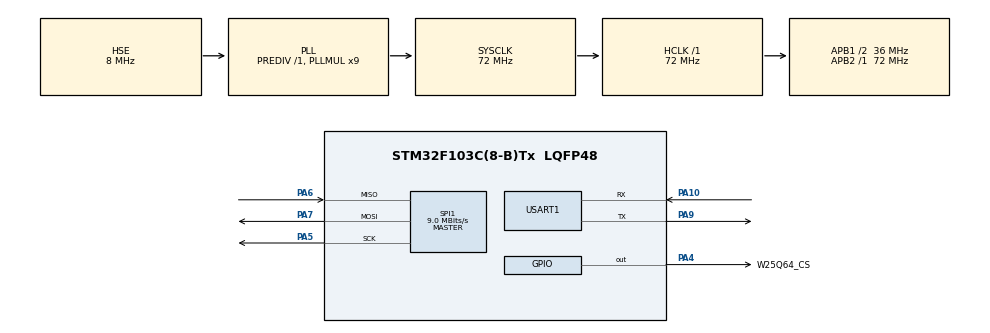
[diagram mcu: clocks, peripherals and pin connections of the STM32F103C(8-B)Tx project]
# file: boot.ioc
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Mcu.Family=STM32F1
Mcu.Name=STM32F103C(8-B)Tx
Mcu.Package=LQFP48
NVIC.PriorityGroup=NVIC_PRIORITYGROUP_4
PA10.Mode=Asynchronous
PA10.Signal=USART1_RX
PA13.Mode=Serial_Wire
PA13.Signal=SYS_JTMS-SWDIO
PA14.Mode=Serial_Wire
PA14.Signal=SYS_JTCK-SWCLK
PA4.GPIO_Label=W25Q64_CS
PA4.PinState=GPIO_PIN_SET
PA4.Signal=GPIO_Output
PA5.Mode=Full_Duplex_Master
PA5.Signal=SPI1_SCK
PA6.Mode=Full_Duplex_Master
PA6.Signal=SPI1_MISO
PA7.Mode=Full_Duplex_Master
PA7.Signal=SPI1_MOSI
PA9.Mode=Asynchronous
PA9.Signal=USART1_TX
PD0-OSC_IN.Mode=HSE-External-Oscillator
PD0-OSC_IN.Signal=RCC_OSC_IN
PD1-OSC_OUT.Mode=HSE-External-Oscillator
PD1-OSC_OUT.Signal=RCC_OSC_OUT
ProjectManager.HeapSize=0x200
ProjectManager.StackSize=0x400
ProjectManager.TargetToolchain=MDK-ARM V5.32
RCC.AHBFreq_Value=72000000
RCC.APB1CLKDivider=RCC_HCLK_DIV2
RCC.APB1Freq_Value=36000000
RCC.APB1TimFreq_Value=72000000
RCC.APB2Freq_Value=72000000
RCC.APB2TimFreq_Value=72000000
RCC.HCLKFreq_Value=72000000
RCC.PLLMUL=RCC_PLL_MUL9
RCC.PLLSourceVirtual=RCC_PLLSOURCE_HSE
RCC.SYSCLKFreq_VALUE=72000000
RCC.SYSCLKSource=RCC_SYSCLKSOURCE_PLLCLK
RCC.USBFreq_Value=72000000
SPI1.BaudRatePrescaler=SPI_BAUDRATEPRESCALER_8
SPI1.CalculateBaudRate=9.0 MBits/s
SPI1.Direction=SPI_DIRECTION_2LINES
SPI1.Mode=SPI_MODE_MASTER
SPI1.VirtualType=VM_MASTER
USART1.VirtualMode=VM_ASYNC
board=custom

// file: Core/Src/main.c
/* USER CODE BEGIN Header */
/**
  ******************************************************************************
  * @file           : main.c
  * @brief          : Main program body
  ******************************************************************************
  * @attention
  *
  * Copyright (c) 2026 STMicroelectronics.
  * All rights reserved.
  *
  * This software is licensed under terms that can be found in the LICENSE file
  * in the root directory of this software component.
  * If no LICENSE file comes with this software, it is provided AS-IS.
  *
  ******************************************************************************
  */
/* USER CODE END Header */
#include "main.h"

/* USER CODE BEGIN Includes */
#include <stdio.h>
#include "w25qxx.h"      /* W25Qxx SPI Flash 驱动：擦/写/读 */
#include "crc32.h"       /* CRC32：固件整包校验 */
#include "flash_if.h"    /* 内部 Flash 擦/写驱动 + 分区宏 */
#include "ota.h"         /* 升级主流程入口 */
/* USER CODE END Includes */

SPI_HandleTypeDef hspi1;

UART_HandleTypeDef huart1;

void SystemClock_Config(void);
static void MX_GPIO_Init(void);
static void MX_SPI1_Init(void);
static void MX_USART1_UART_Init(void);

int main(void)
{

  /* MCU Configuration--------------------------------------------------------*/

  /* Reset of all peripherals, Initializes the Flash interface and the Systick. */
  HAL_Init();

  /* Configure the system clock */
  SystemClock_Config();

  /* Initialize all configured peripherals */
  MX_GPIO_Init();
  MX_SPI1_Init();
  MX_USART1_UART_Init();
  /* USER CODE BEGIN 2 */

  /* ============ 启动阶段（非破坏性自检）============ */
  HAL_Delay(200);                                  /* 等串口外设稳定 */
  printf("[BOOT] OTA Bootloader v1.0\r\n");

  /* CRC32 算法自测：标准测试向量 "123456789" -> 0xCBF43926 */
  crc32_init();
  const char *crc_t = "123456789";
  uint32_t crc = crc32_calc((const uint8_t *)crc_t, 9);
  printf("CRC32 self-test: %08lX %s\r\n",
         (unsigned long)crc, (crc == 0xCBF43926UL) ? "(OK)" : "(FAIL)");

  /* 识别 W25Q（固件暂存介质） */
  W25Q_Init();
  uint32_t id = W25Q_ReadID();
  printf("W25Q ID = %06lX\r\n", (unsigned long)id);

  /* 进入升级决策：有 PENDING 就搬固件；否则 2 秒窗口等升级 / 跳 APP */
  ota_boot();

  /* USER CODE END 2 */

  /* Infinite loop */
  while (1)
  {

  }
}

void SystemClock_Config(void)
{
  RCC_OscInitTypeDef RCC_OscInitStruct = {0};
  RCC_ClkInitTypeDef RCC_ClkInitStruct = {0};

  /** Initializes the RCC Oscillators according to the specified parameters
  * in the RCC_OscInitTypeDef structure.
  */
  RCC_OscInitStruct.OscillatorType = RCC_OSCILLATORTYPE_HSE;
  RCC_OscInitStruct.HSEState = RCC_HSE_ON;
  RCC_OscInitStruct.HSEPredivValue = RCC_HSE_PREDIV_DIV1;
  RCC_OscInitStruct.HSIState = RCC_HSI_ON;
  RCC_OscInitStruct.PLL.PLLState = RCC_PLL_ON;
  RCC_OscInitStruct.PLL.PLLSource = RCC_PLLSOURCE_HSE;
  RCC_OscInitStruct.PLL.PLLMUL = RCC_PLL_MUL9;
  if (HAL_RCC_OscConfig(&RCC_OscInitStruct) != HAL_OK)
  {
    Error_Handler();
  }

  /** Initializes the CPU, AHB and APB buses clocks
  */
  RCC_ClkInitStruct.ClockType = RCC_CLOCKTYPE_HCLK|RCC_CLOCKTYPE_SYSCLK
                              |RCC_CLOCKTYPE_PCLK1|RCC_CLOCKTYPE_PCLK2;
  RCC_ClkInitStruct.SYSCLKSource = RCC_SYSCLKSOURCE_PLLCLK;
  RCC_ClkInitStruct.AHBCLKDivider = RCC_SYSCLK_DIV1;
  RCC_ClkInitStruct.APB1CLKDivider = RCC_HCLK_DIV2;
  RCC_ClkInitStruct.APB2CLKDivider = RCC_HCLK_DIV1;

  if (HAL_RCC_ClockConfig(&RCC_ClkInitStruct, FLASH_LATENCY_2) != HAL_OK)
  {
    Error_Handler();
  }
}

static void MX_SPI1_Init(void)
{

  /* SPI1 parameter configuration*/
  hspi1.Instance = SPI1;
  hspi1.Init.Mode = SPI_MODE_MASTER;
  hspi1.Init.Direction = SPI_DIRECTION_2LINES;
  hspi1.Init.DataSize = SPI_DATASIZE_8BIT;
  hspi1.Init.CLKPolarity = SPI_POLARITY_LOW;
  hspi1.Init.CLKPhase = SPI_PHASE_1EDGE;
  hspi1.Init.NSS = SPI_NSS_SOFT;
  hspi1.Init.BaudRatePrescaler = SPI_BAUDRATEPRESCALER_8;
  hspi1.Init.FirstBit = SPI_FIRSTBIT_MSB;
  hspi1.Init.TIMode = SPI_TIMODE_DISABLE;
  hspi1.Init.CRCCalculation = SPI_CRCCALCULATION_DISABLE;
  hspi1.Init.CRCPolynomial = 10;
  if (HAL_SPI_Init(&hspi1) != HAL_OK)
  {
    Error_Handler();
  }

}

static void MX_USART1_UART_Init(void)
{

  huart1.Instance = USART1;
  huart1.Init.BaudRate = 115200;
  huart1.Init.WordLength = UART_WORDLENGTH_8B;
  huart1.Init.StopBits = UART_STOPBITS_1;
  huart1.Init.Parity = UART_PARITY_NONE;
  huart1.Init.Mode = UART_MODE_TX_RX;
  huart1.Init.HwFlowCtl = UART_HWCONTROL_NONE;
  huart1.Init.OverSampling = UART_OVERSAMPLING_16;
  if (HAL_UART_Init(&huart1) != HAL_OK)
  {
    Error_Handler();
  }

}

static void MX_GPIO_Init(void)
{
  GPIO_InitTypeDef GPIO_InitStruct = {0};

  /* GPIO Ports Clock Enable */
  __HAL_RCC_GPIOD_CLK_ENABLE();
  __HAL_RCC_GPIOA_CLK_ENABLE();

  /*Configure GPIO pin Output Level */
  HAL_GPIO_WritePin(W25Q64_CS_GPIO_Port, W25Q64_CS_Pin, GPIO_PIN_SET);

  /*Configure GPIO pin : W25Q64_CS_Pin */
  GPIO_InitStruct.Pin = W25Q64_CS_Pin;
  GPIO_InitStruct.Mode = GPIO_MODE_OUTPUT_PP;
  GPIO_InitStruct.Pull = GPIO_NOPULL;
  GPIO_InitStruct.Speed = GPIO_SPEED_FREQ_LOW;
  HAL_GPIO_Init(W25Q64_CS_GPIO_Port, &GPIO_InitStruct);

}

/* USER CODE BEGIN 4 */
/* printf 重定向：把标准库输出接到 USART1，调试打印用 */
int fputc(int ch, FILE *f)
{
    (void)f;                                   /* 避免未使用参数警告 */
    HAL_UART_Transmit(&huart1, (uint8_t *)&ch, 1, 0xFFFF);
    return ch;
}
/* USER CODE END 4 */

void Error_Handler(void)
{
  __disable_irq();
  while (1)
  {
  }
}
